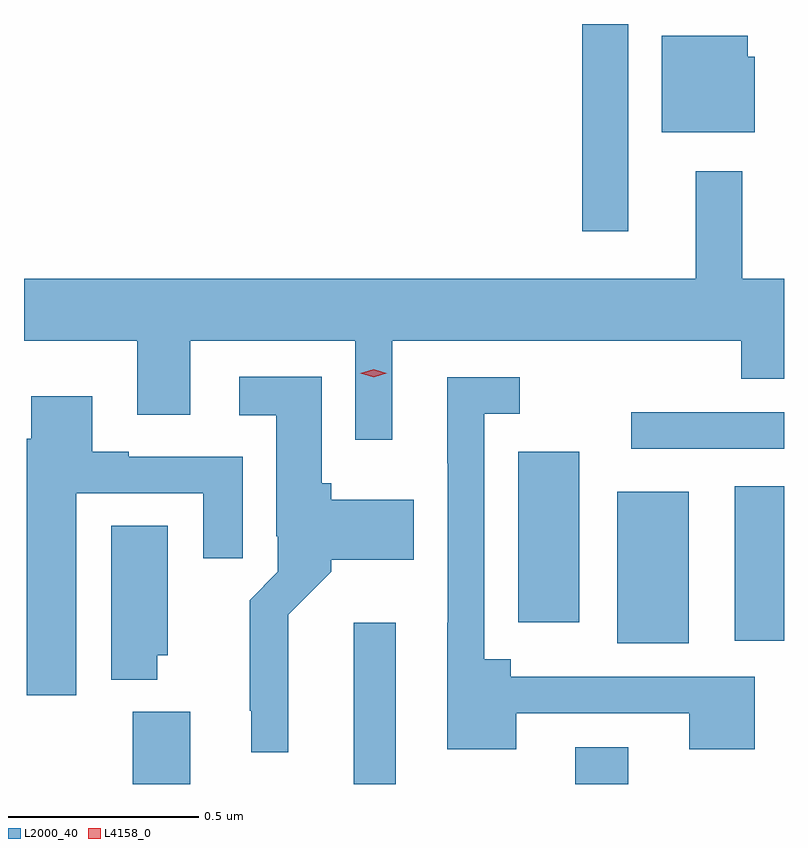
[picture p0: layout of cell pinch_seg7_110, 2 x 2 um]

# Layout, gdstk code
import gdstk
lib = gdstk.Library(unit=1e-6, precision=1e-09)
def R(c, l, rs):  # rectangles x0, y0, x1, y1
    for r in rs: c.add(gdstk.rectangle(r[:2], r[2:], *l))
def P(c, l, *ps):  # polygons
    for p in ps: c.add(gdstk.Polygon(p, *l))
L2000_40 = (2000, 40)
L4158_0 = (4158, 0)

pinch_seg7_110 = lib.new_cell('pinch_seg7_110')
R(pinch_seg7_110, L2000_40, [(974.165,1007.442,974.317,1007.632), (974.747,1007.442,974.857,1007.866), (975.329,1007.442,975.469,1007.539), (975.44,1007.813,975.628,1008.211), (975.749,1007.819,975.879,1008.226), (975.179,1007.868,975.34,1008.316), (975.477,1008.324,975.879,1008.42), (975.348,1008.897,975.469,1009.442)])
P(pinch_seg7_110, L2000_40, [(975.802,1009.356),(975.784,1009.356),(975.784,1009.411),(975.557,1009.411),(975.557,1009.157),(975.802,1009.157)],
  [(974.848,1008.608),(975.767,1008.608),(975.767,1008.509),(975.879,1008.509),(975.879,1008.772),(975.769,1008.772),(975.769,1009.054),(975.647,1009.054),(975.647,1008.772),(973.879,1008.772),(973.879,1008.608),(974.177,1008.608),(974.177,1008.414),(974.317,1008.414),(974.317,1008.608),(974.751,1008.608),(974.751,1008.348),(974.848,1008.348)],
  [(974.575,1007.888),(974.688,1008.001),(974.688,1008.032),(974.905,1008.032),(974.905,1008.19),(974.688,1008.19),(974.688,1008.234),(974.662,1008.234),(974.662,1008.514),(974.445,1008.514),(974.445,1008.413),(974.543,1008.413),(974.543,1008.094),(974.547,1008.094),(974.547,1008),(974.473,1007.926),(974.473,1007.635),(974.477,1007.635),(974.477,1007.525),(974.575,1007.525)],
  [(975.175,1007.628),(975.629,1007.628),(975.629,1007.534),(975.802,1007.534),(975.802,1007.724),(975.16,1007.724),(975.16,1007.77),(975.09,1007.77),(975.09,1008.417),(975.184,1008.417),(975.184,1008.513),(974.993,1008.513),(974.993,1008.286),(974.994,1008.286),(974.994,1007.866),(974.993,1007.866),(974.993,1007.534),(975.175,1007.534)],
  [(974.017,1008.207),(974.351,1008.207),(974.351,1008.036),(974.455,1008.036),(974.455,1008.303),(974.155,1008.303),(974.155,1008.316),(974.059,1008.316),(974.059,1008.463),(973.898,1008.463),(973.898,1008.35),(973.886,1008.35),(973.886,1007.676),(974.017,1007.676)],
  [(974.23,1007.781),(974.257,1007.781),(974.257,1008.122),(974.108,1008.122),(974.108,1007.717),(974.23,1007.717)])
P(pinch_seg7_110, L4158_0, [(974.799,1008.513),(974.764,1008.523),(974.763,1008.523),(974.764,1008.523),(974.799,1008.533),(974.834,1008.523),(974.834,1008.523),(974.834,1008.523)])

lib.write_gds('pinch_seg7_110.gds')
